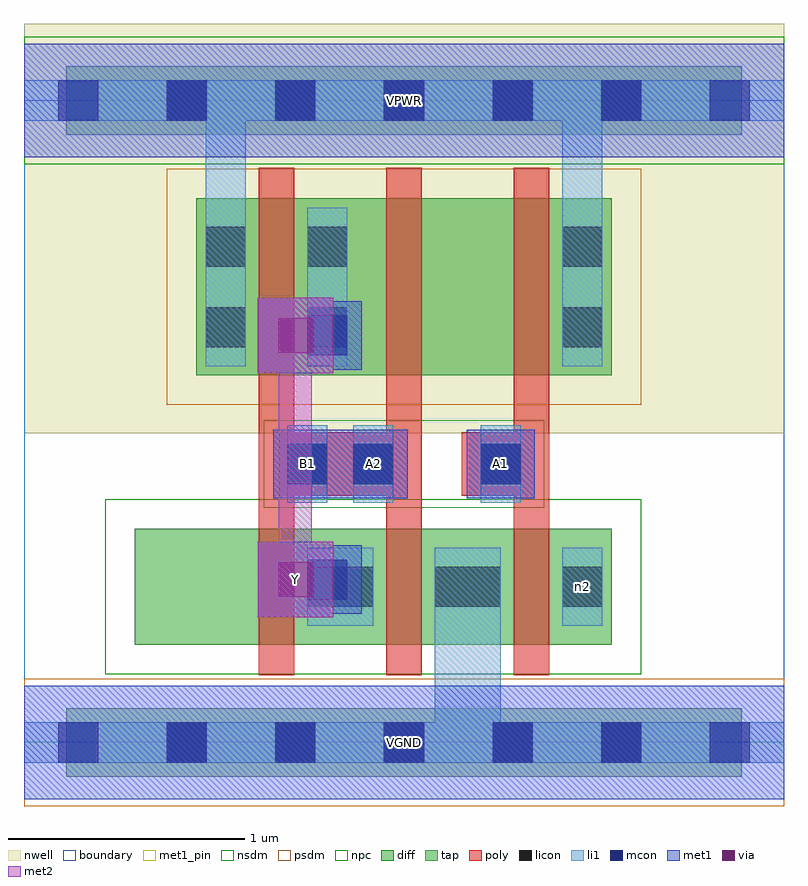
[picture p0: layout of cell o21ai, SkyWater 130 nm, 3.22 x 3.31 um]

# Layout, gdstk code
import gdstk
lib = gdstk.Library(unit=1e-6, precision=1e-09)
def R(c, l, rs):  # rectangles x0, y0, x1, y1
    for r in rs: c.add(gdstk.rectangle(r[:2], r[2:], *l))
def A(c, l, x, y, w, h, nx, ny, dx, dy):  # array of equal rectangles
    R(c, l, [(x+i*dx, y+j*dy, x+i*dx+w, y+j*dy+h) for i in range(nx) for j in range(ny)])
nwell = (64, 20)
diff = (65, 20)
tap = (65, 44)
poly = (66, 20)
licon = (66, 44)
li1 = (67, 20)
mcon = (67, 44)
met1_pin = (68, 16)
met1 = (68, 20)
via = (68, 44)
met2 = (69, 20)
nsdm = (93, 44)
psdm = (94, 20)
npc = (95, 20)
boundary = (235, 4)

o21ai = lib.new_cell('o21ai')
R(o21ai, nwell, [(0,1.31,3.22,3.045)])
R(o21ai, diff, [(0.47,0.415,1.27,0.905), (0.73,0.415,2.49,0.905), (0.73,1.555,2.49,2.305)])
R(o21ai, tap, [(0.18,-0.145,3.04,0.145), (0.18,2.575,3.04,2.865)])
A(o21ai, poly, 0.995, 0.285, 0.15, 2.15, 3, 1, 0.54, 0)
R(o21ai, poly, [(1.035,1.045,1.365,1.315), (1.315,1.045,1.645,1.315), (1.855,1.045,2.185,1.315)])
A(o21ai, licon, 0.605, -0.085, 0.17, 0.17, 5, 2, 0.46, 2.72)
R(o21ai, licon, [(1.2,0.575,1.37,0.745), (1.31,0.575,1.48,0.745), (1.74,0.575,1.91,0.745), (1.85,0.575,2.02,0.745), (2.28,0.575,2.45,0.745), (1.115,1.095,1.285,1.265), (1.395,1.095,1.565,1.265), (1.935,1.095,2.105,1.265), (0.77,1.675,0.94,1.845), (1.2,1.675,1.37,1.845), (2.28,1.675,2.45,1.845), (0.77,2.015,0.94,2.185), (1.2,2.015,1.37,2.185), (2.28,2.015,2.45,2.185)])
R(o21ai, li1, [(0,-0.085,3.22,0.085), (1.74,-0.085,1.91,0.825), (1.85,-0.085,2.02,0.825), (1.2,0.495,1.37,0.825), (1.31,0.495,1.48,0.825), (1.74,0.495,1.91,0.825), (1.85,0.495,2.02,0.825), (2.28,0.495,2.45,0.825), (1.115,1.015,1.285,1.345), (1.395,1.015,1.565,1.345), (1.935,1.015,2.105,1.345), (0.77,1.595,0.94,2.265), (0.77,1.595,0.94,2.805), (1.2,1.595,1.37,2.265), (2.28,1.595,2.45,2.265), (2.28,1.595,2.45,2.805), (0,2.635,3.22,2.805)])
A(o21ai, mcon, 0.145, -0.085, 0.17, 0.17, 7, 2, 0.46, 2.72)
R(o21ai, mcon, [(1.2,0.605,1.37,0.775), (1.115,1.095,1.285,1.265), (1.395,1.095,1.565,1.265), (1.935,1.095,2.105,1.265), (1.2,1.64,1.37,1.81)])
R(o21ai, met1_pin, [(0,-0.24,3.22,0.24), (0.99,0.53,1.31,0.85), (1.055,1.035,1.345,1.325), (1.335,1.035,1.625,1.325), (1.875,1.035,2.165,1.325), (0,2.48,3.22,2.96)])
R(o21ai, met1, [(0,-0.24,3.22,0.24), (0.99,0.53,1.31,0.85), (1.14,0.545,1.43,0.835), (1.08,0.62,1.355,0.76), (1.055,1.035,1.345,1.325), (1.335,1.035,1.625,1.325), (1.875,1.035,2.165,1.325), (0.99,1.565,1.31,1.885), (1.14,1.58,1.43,1.87), (1.08,1.655,1.355,1.795), (0,2.48,3.22,2.96)])
R(o21ai, via, [(1.075,0.615,1.225,0.765), (1.075,1.65,1.225,1.8)])
R(o21ai, met2, [(0.99,0.53,1.31,0.85), (1.08,0.62,1.22,1.795), (0.99,1.565,1.31,1.885)])
R(o21ai, nsdm, [(0.345,0.29,1.395,1.03), (0.605,0.29,2.615,1.03), (0,2.45,3.22,2.99)])
R(o21ai, psdm, [(0,-0.27,3.22,0.27), (0.605,1.43,2.615,2.43)])
R(o21ai, npc, [(1.015,0.995,2.205,1.365)])
R(o21ai, boundary, [(0,0,3.22,2.72)])
o21ai.add(gdstk.Label('n2', (2.365,0.66), layer=67, texttype=5))
o21ai.add(gdstk.Label('A1', (2.02,1.18), layer=68, texttype=5))
o21ai.add(gdstk.Label('A2', (1.48,1.18), layer=68, texttype=5))
o21ai.add(gdstk.Label('B1', (1.2,1.18), layer=68, texttype=5))
o21ai.add(gdstk.Label('Y', (1.15,0.69), layer=68, texttype=5))
o21ai.add(gdstk.Label('VPWR', (1.61,2.72), layer=68, texttype=5))
o21ai.add(gdstk.Label('VGND', (1.61,0), layer=68, texttype=5))
o21ai.add(gdstk.Label('A1', (2.02,1.18), layer=68, texttype=16))
o21ai.add(gdstk.Label('A2', (1.48,1.18), layer=68, texttype=16))
o21ai.add(gdstk.Label('B1', (1.2,1.18), layer=68, texttype=16))
o21ai.add(gdstk.Label('Y', (1.15,0.69), layer=68, texttype=16))
o21ai.add(gdstk.Label('VPWR', (1.61,2.72), layer=68, texttype=16))
o21ai.add(gdstk.Label('VGND', (1.61,0), layer=68, texttype=16))

lib.write_gds('o21ai.gds')
